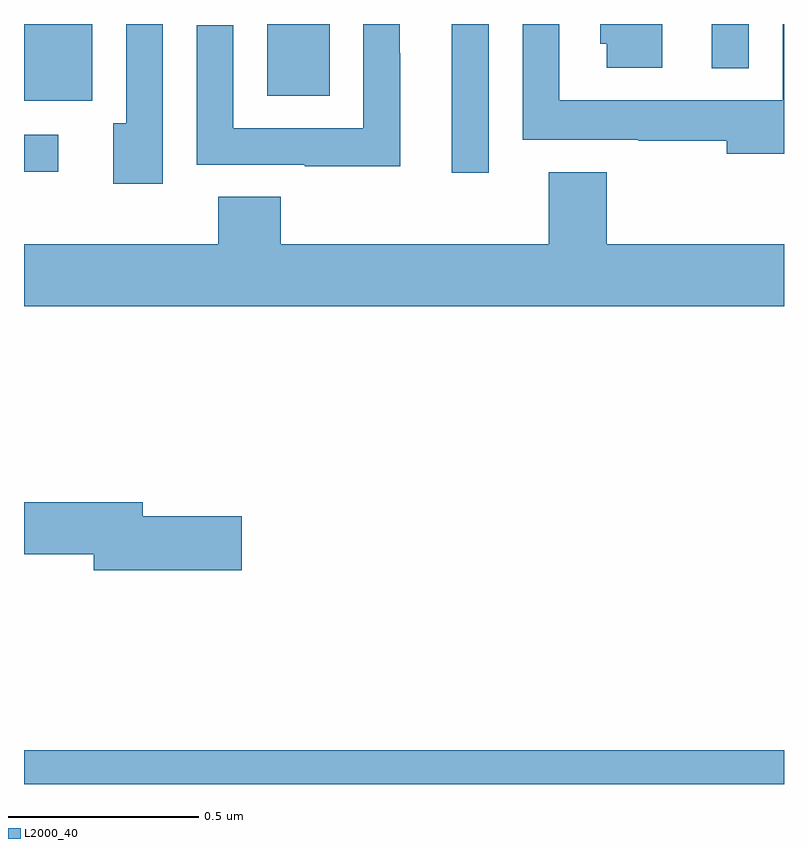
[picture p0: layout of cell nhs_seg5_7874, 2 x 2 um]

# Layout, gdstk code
import gdstk
lib = gdstk.Library(unit=1e-6, precision=1e-09)
def R(c, l, rs):  # rectangles x0, y0, x1, y1
    for r in rs: c.add(gdstk.rectangle(r[:2], r[2:], *l))
def P(c, l, *ps):  # polygons
    for p in ps: c.add(gdstk.Polygon(p, *l))
L2000_40 = (2000, 40)

nhs_seg5_7874 = lib.new_cell('nhs_seg5_7874')
R(nhs_seg5_7874, L2000_40, [(214,892.799,216,892.888), (215.126,894.408,215.223,894.799), (214,894.41,214.09,894.507), (214,894.597,214.18,894.799), (214.64,894.61,214.804,894.799), (215.81,894.683,215.907,894.799)])
P(nhs_seg5_7874, L2000_40, [(214.365,894.799),(214.269,894.799),(214.269,894.538),(214.235,894.538),(214.235,894.378),(214.365,894.378)],
  [(214.99,894.722),(214.989,894.722),(214.989,894.799),(214.893,894.799),(214.893,894.525),(214.551,894.525),(214.551,894.796),(214.455,894.796),(214.455,894.429),(214.739,894.429),(214.739,894.425),(214.99,894.425)],
  [(216,894.799),(215.997,894.799),(215.997,894.598),(215.409,894.598),(215.409,894.799),(215.313,894.799),(215.313,894.494),(215.617,894.494),(215.617,894.492),(215.849,894.492),(215.849,894.458),(216,894.458)],
  [(215.68,894.799),(215.516,894.799),(215.516,894.747),(215.534,894.747),(215.534,894.684),(215.68,894.684)],
  [(216,894.22),(215.534,894.22),(215.534,894.409),(215.381,894.409),(215.381,894.22),(214.676,894.22),(214.676,894.344),(214.511,894.344),(214.511,894.22),(214,894.22),(214,894.056),(216,894.056)],
  [(214.573,893.504),(214.312,893.504),(214.312,893.54),(214,893.54),(214,893.404),(214.184,893.404),(214.184,893.362),(214.573,893.362)])

lib.write_gds('nhs_seg5_7874.gds')
